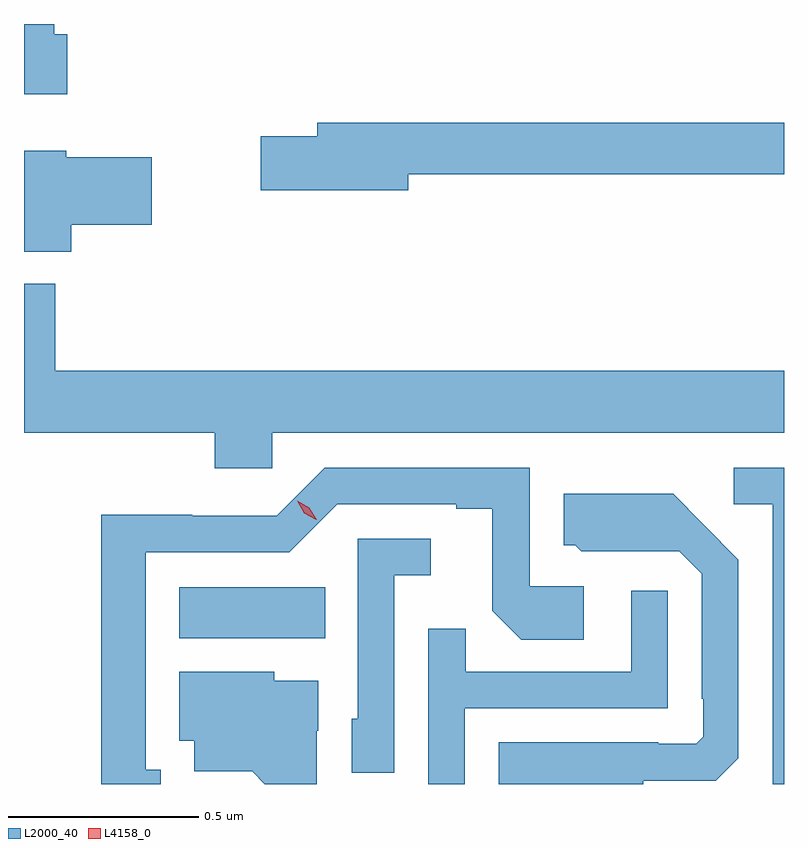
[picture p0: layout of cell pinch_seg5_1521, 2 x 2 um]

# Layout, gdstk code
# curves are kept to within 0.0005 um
import gdstk
lib = gdstk.Library(unit=1e-6, precision=1e-09)
def R(c, l, rs):  # rectangles x0, y0, x1, y1
    for r in rs: c.add(gdstk.rectangle(r[:2], r[2:], *l))
def P(c, l, *ps):  # polygons
    for p in ps: c.add(gdstk.Polygon(p, *l))
L2000_40 = (2000, 40)
L4158_0 = (4158, 0)

pinch_seg5_1521 = lib.new_cell('pinch_seg5_1521')
R(pinch_seg5_1521, L2000_40, [(161.792,893.516,162.176,893.65)])
P(pinch_seg5_1521, L2000_40, [(161.497,895.105),(161.462,895.105),(161.462,895.132),(161.383,895.132),(161.383,894.947),(161.497,894.947)],
  [(162.394,894.736),(163.383,894.736),(163.383,894.872),(162.155,894.872),(162.155,894.836),(162.006,894.836),(162.006,894.694),(162.394,894.694)],
  [(161.507,894.604),(161.719,894.604),(161.719,894.782),(161.494,894.782),(161.494,894.799),(161.383,894.799),(161.383,894.533),(161.507,894.533)],
  [(162.036,894.056),(163.383,894.056),(163.383,894.22),(161.465,894.22),(161.465,894.448),(161.383,894.448),(161.383,894.056),(161.885,894.056),(161.885,893.963),(162.036,893.963)],
  [(163.383,893.964),(163.251,893.964),(163.251,893.868),(163.353,893.868),(163.353,893.132),(163.383,893.132)],
  [(161.743,893.169),(161.704,893.169),(161.704,893.742),(162.081,893.742),(162.207,893.868),(162.521,893.868),(162.521,893.856),(162.615,893.856),(162.615,893.588),(162.691,893.512),(162.856,893.512),(162.856,893.652),(162.714,893.652),(162.714,893.964),(162.174,893.964),(162.048,893.838),(161.826,893.838),(161.826,893.84),(161.586,893.84),(161.586,893.132),(161.743,893.132)],
  [(163.012,893.141),(163.204,893.141),(163.263,893.2),(163.263,893.722),(163.091,893.896),(162.803,893.896),(162.803,893.76),(162.834,893.76),(162.85,893.744),(162.984,893.744),(162.984,893.745),(163.107,893.745),(163.167,893.685),(163.167,893.356),(163.17,893.356),(163.17,893.256),(163.152,893.238),(163.052,893.238),(163.052,893.242),(162.632,893.242),(162.632,893.132),(163.012,893.132)],
  [(162.357,893.681),(162.454,893.681),(162.454,893.778),(162.261,893.778),(162.261,893.304),(162.246,893.304),(162.246,893.161),(162.357,893.161)],
  [(162.543,893.331),(163.077,893.331),(163.077,893.641),(162.981,893.641),(162.981,893.427),(162.545,893.427),(162.545,893.54),(162.447,893.54),(162.447,893.132),(162.543,893.132)],
  [(162.153,893.272),(162.157,893.272),(162.157,893.404),(162.042,893.404),(162.042,893.428),(161.792,893.428),(161.792,893.246),(161.831,893.246),(161.831,893.165),(161.983,893.165),(162.016,893.132),(162.153,893.132)])
P(pinch_seg5_1521, L4158_0, [(162.152,893.827),(162.12,893.845),(162.102,893.877),(162.102,893.878),(162.102,893.878),(162.134,893.859),(162.153,893.827),(162.153,893.827)])

lib.write_gds('pinch_seg5_1521.gds')
